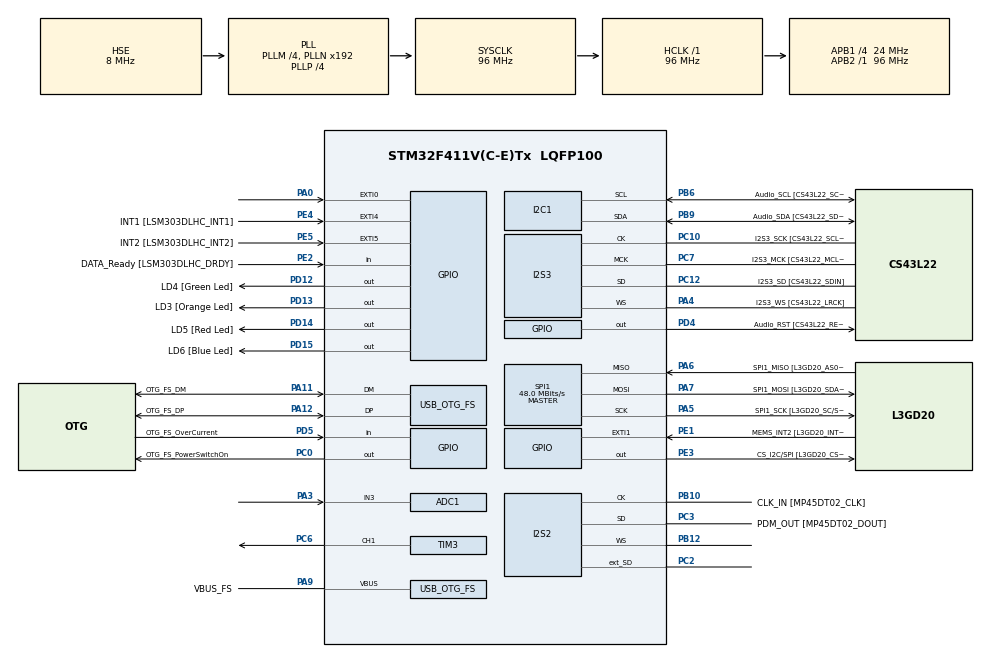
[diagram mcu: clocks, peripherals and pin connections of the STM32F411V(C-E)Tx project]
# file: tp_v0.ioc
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ADC1.Channel-0\#ChannelRegularConversion=ADC_CHANNEL_3
ADC1.NbrOfConversionFlag=1
ADC1.Rank-0\#ChannelRegularConversion=1
ADC1.SamplingTime-0\#ChannelRegularConversion=ADC_SAMPLETIME_3CYCLES
ADC1.master=1
FREERTOS.Tasks01=defaultTask,0,128,StartDefaultTask,Default,NULL
I2S2.AudioFreq=I2S_AUDIOFREQ_96K
I2S2.ErrorAudioFreq=0.15 %
I2S2.FullDuplexMode=I2S_FULLDUPLEXMODE_ENABLE
I2S2.Instance=SPI$Index
I2S2.RealAudioFreq=96.153 KHz
I2S2.VirtualMode=I2S_MODE_MASTER
I2S3.AudioFreq=I2S_AUDIOFREQ_96K
I2S3.ErrorAudioFreq=-6.99 %
I2S3.FullDuplexMode=I2S_FULLDUPLEXMODE_DISABLE
I2S3.Instance=SPI$Index
I2S3.RealAudioFreq=89.285 KHz
I2S3.VirtualMode=I2S_MODE_MASTER
Mcu.Family=STM32F4
Mcu.Name=STM32F411V(C-E)Tx
Mcu.Package=LQFP100
NVIC.OTG_FS_IRQn=true\:5\:0\:false\:false\:true\:true\:true
NVIC.PriorityGroup=NVIC_PRIORITYGROUP_4
NVIC.TIM1_UP_TIM10_IRQn=true\:0\:0\:false\:false\:true\:false\:false
NVIC.TimeBase=TIM1_UP_TIM10_IRQn
NVIC.TimeBaseIP=TIM10
PA0-WKUP.GPIO_ModeDefaultEXTI=GPIO_MODE_EVT_RISING
PA0-WKUP.Signal=GPXTI0
PA10.GPIO_Label=OTG_FS_ID
PA10.Signal=USB_OTG_FS_ID
PA11.GPIO_Label=OTG_FS_DM
PA11.Mode=Device_Only
PA11.Signal=USB_OTG_FS_DM
PA12.GPIO_Label=OTG_FS_DP
PA12.Mode=Device_Only
PA12.Signal=USB_OTG_FS_DP
PA13.GPIO_Label=SWDIO
PA13.Mode=Serial_Wire
PA13.Signal=SYS_JTMS-SWDIO
PA14.GPIO_Label=SWCLK
PA14.Mode=Serial_Wire
PA14.Signal=SYS_JTCK-SWCLK
PA3.Signal=ADCx_IN3
PA4.GPIO_Label=I2S3_WS [CS43L22_LRCK]
PA4.GPIO_Mode=GPIO_MODE_AF_PP
PA4.GPIO_PuPd=GPIO_NOPULL
PA4.GPIO_Speed=GPIO_SPEED_FREQ_LOW
PA4.Mode=Half_Duplex_Master
PA4.Signal=I2S3_WS
PA5.GPIO_Label=SPI1_SCK [L3GD20_SC/SPC]
PA5.Mode=Full_Duplex_Master
PA5.Signal=SPI1_SCK
PA6.GPIO_Label=SPI1_MISO [L3GD20_AS0/SDO]
PA6.Mode=Full_Duplex_Master
PA6.Signal=SPI1_MISO
PA7.GPIO_Label=SPI1_MOSI [L3GD20_SDA/SDI/SDO]
PA7.Mode=Full_Duplex_Master
PA7.Signal=SPI1_MOSI
PA9.GPIO_Label=VBUS_FS
PA9.Mode=Activate_VBUS
PA9.Signal=USB_OTG_FS_VBUS
PB10.GPIO_Label=CLK_IN [MP45DT02_CLK]
PB10.Mode=Full_Duplex_Master
PB10.Signal=I2S2_CK
PB12.Mode=Full_Duplex_Master
PB12.Signal=I2S2_WS
PB3.GPIO_Label=SWO
PB3.Signal=SYS_JTDO-SWO
PB6.GPIO_Label=Audio_SCL [CS43L22_SCL]
PB6.GPIO_Mode=GPIO_MODE_AF_OD
PB6.GPIO_PuPd=GPIO_NOPULL
PB6.GPIO_Speed=GPIO_SPEED_FREQ_LOW
PB6.Mode=I2C
PB6.Signal=I2C1_SCL
PB9.GPIO_Label=Audio_SDA [CS43L22_SDA]
PB9.GPIO_Mode=GPIO_MODE_AF_OD
PB9.GPIO_PuPd=GPIO_NOPULL
PB9.GPIO_Speed=GPIO_SPEED_FREQ_LOW
PB9.Mode=I2C
PB9.Signal=I2C1_SDA
PC0.GPIO_Label=OTG_FS_PowerSwitchOn
PC0.PinState=GPIO_PIN_SET
PC0.Signal=GPIO_Output
PC10.GPIO_Label=I2S3_SCK [CS43L22_SCLK]
PC10.GPIO_Mode=GPIO_MODE_AF_PP
PC10.GPIO_PuPd=GPIO_NOPULL
PC10.GPIO_Speed=GPIO_SPEED_FREQ_LOW
PC10.Mode=Half_Duplex_Master
PC10.Signal=I2S3_CK
PC12.GPIO_Label=I2S3_SD [CS43L22_SDIN]
PC12.GPIO_Mode=GPIO_MODE_AF_PP
PC12.GPIO_PuPd=GPIO_NOPULL
PC12.GPIO_Speed=GPIO_SPEED_FREQ_LOW
PC12.Mode=Half_Duplex_Master
PC12.Signal=I2S3_SD
PC14-OSC32_IN.GPIO_Label=PC14-OSC32_IN
PC14-OSC32_IN.Mode=LSE-External-Oscillator
PC14-OSC32_IN.Signal=RCC_OSC32_IN
PC15-OSC32_OUT.GPIO_Label=PC15-OSC32_OUT
PC15-OSC32_OUT.Mode=LSE-External-Oscillator
PC15-OSC32_OUT.Signal=RCC_OSC32_OUT
PC2.Mode=Full_Duplex_Master
PC2.Signal=I2S2_ext_SD
PC3.GPIO_Label=PDM_OUT [MP45DT02_DOUT]
PC3.Mode=Full_Duplex_Master
PC3.Signal=I2S2_SD
PC6.Signal=S_TIM3_CH1
PC7.GPIO_Label=I2S3_MCK [CS43L22_MCLK]
PC7.GPIO_Mode=GPIO_MODE_AF_PP
PC7.GPIO_PuPd=GPIO_NOPULL
PC7.GPIO_Speed=GPIO_SPEED_FREQ_LOW
PC7.Mode=Master_Clock_Activated
PC7.Signal=I2S3_MCK
PD12.GPIO_Label=LD4 [Green Led]
PD12.GPIO_PuPd=GPIO_NOPULL
PD12.GPIO_Speed=GPIO_SPEED_FREQ_LOW
PD12.Signal=GPIO_Output
PD13.GPIO_Label=LD3 [Orange Led]
PD13.GPIO_PuPd=GPIO_NOPULL
PD13.GPIO_Speed=GPIO_SPEED_FREQ_LOW
PD13.Signal=GPIO_Output
PD14.GPIO_Label=LD5 [Red Led]
PD14.GPIO_PuPd=GPIO_NOPULL
PD14.GPIO_Speed=GPIO_SPEED_FREQ_LOW
PD14.Signal=GPIO_Output
PD15.GPIO_Label=LD6 [Blue Led]
PD15.GPIO_PuPd=GPIO_NOPULL
PD15.GPIO_Speed=GPIO_SPEED_FREQ_LOW
PD15.Signal=GPIO_Output
PD4.GPIO_Label=Audio_RST [CS43L22_RESET]
PD4.Signal=GPIO_Output
PD5.GPIO_Label=OTG_FS_OverCurrent
PD5.Signal=GPIO_Input
PE1.GPIO_Label=MEMS_INT2 [L3GD20_INT2]
PE1.GPIO_ModeDefaultEXTI=GPIO_MODE_EVT_RISING
PE1.Signal=GPXTI1
PE2.GPIO_Label=DATA_Ready [LSM303DLHC_DRDY]
PE2.Signal=GPIO_Input
PE3.GPIO_Label=CS_I2C/SPI [L3GD20_CS_I2C/SPI]
PE3.Signal=GPIO_Output
PE4.GPIO_Label=INT1 [LSM303DLHC_INT1]
PE4.GPIO_ModeDefaultEXTI=GPIO_MODE_EVT_RISING
PE4.Signal=GPXTI4
PE5.GPIO_Label=INT2 [LSM303DLHC_INT2]
PE5.GPIO_ModeDefaultEXTI=GPIO_MODE_EVT_RISING
PE5.Signal=GPXTI5
PH0\ -\ OSC_IN.GPIO_Label=PH0-OSC_IN
PH0\ -\ OSC_IN.Mode=HSE-External-Oscillator
PH0\ -\ OSC_IN.Signal=RCC_OSC_IN
PH1\ -\ OSC_OUT.GPIO_Label=PH1-OSC_OUT
PH1\ -\ OSC_OUT.Mode=HSE-External-Oscillator
PH1\ -\ OSC_OUT.Signal=RCC_OSC_OUT
ProjectManager.HeapSize=0x200
ProjectManager.StackSize=0x400
ProjectManager.TargetToolchain=TrueSTUDIO
RCC.48MHZClocksFreq_Value=48000000
RCC.AHBFreq_Value=96000000
RCC.APB1CLKDivider=RCC_HCLK_DIV4
RCC.APB1Freq_Value=24000000
RCC.APB1TimFreq_Value=48000000
RCC.APB2Freq_Value=96000000
RCC.APB2TimFreq_Value=96000000
RCC.CortexFreq_Value=96000000
RCC.HCLKFreq_Value=96000000
RCC.HSE_VALUE=8000000
RCC.HSI_VALUE=16000000
RCC.PLLI2SM=5
RCC.PLLI2SN=200
RCC.PLLM=4
RCC.PLLP=RCC_PLLP_DIV4
RCC.PLLQ=8
RCC.SYSCLKFreq_VALUE=96000000
RCC.SYSCLKSource=RCC_SYSCLKSOURCE_PLLCLK
RCC.VCOOutputFreq_Value=384000000
SH.ADCx_IN3.0=ADC1_IN3,IN3
SH.S_TIM3_CH1.0=TIM3_CH1,PWM Generation1 CH1
SPI1.BaudRatePrescaler=SPI_BAUDRATEPRESCALER_2
SPI1.CalculateBaudRate=48.0 MBits/s
SPI1.Direction=SPI_DIRECTION_2LINES
SPI1.Mode=SPI_MODE_MASTER
SPI1.VirtualType=VM_MASTER
TIM3.Channel-PWM\ Generation1\ CH1=TIM_CHANNEL_1
USB_DEVICE.CLASS_NAME_FS=CDC
USB_DEVICE.VirtualMode=Cdc
USB_DEVICE.VirtualModeFS=Cdc_FS
USB_OTG_FS.VirtualMode=Device_Only
VP_FREERTOS_VS_ENABLE.Mode=Enabled
VP_SYS_VS_tim10.Mode=TIM10
VP_USB_DEVICE_VS_USB_DEVICE_CDC_FS.Mode=CDC_FS
board=32F411EDISCOVERY

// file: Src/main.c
/**
  ******************************************************************************
  * @file           : main.c
  * @brief          : Main program body
  ******************************************************************************
  * This notice applies to any and all portions of this file
  * that are not between comment pairs USER CODE BEGIN and
  * USER CODE END. Other portions of this file, whether
  * inserted by the user or by software development tools
  * are owned by their respective copyright owners.
  *
  * Copyright (c) 2019 STMicroelectronics International N.V.
  * All rights reserved.
  *
  * Redistribution and use in source and binary forms, with or without
  * modification, are permitted, provided that the following conditions are met:
  *
  * 1. Redistribution of source code must retain the above copyright notice,
  *    this list of conditions and the following disclaimer.
  * 2. Redistributions in binary form must reproduce the above copyright notice,
  *    this list of conditions and the following disclaimer in the documentation
  *    and/or other materials provided with the distribution.
  * 3. Neither the name of STMicroelectronics nor the names of other
  *    contributors to this software may be used to endorse or promote products
  *    derived from this software without specific written permission.
  * 4. This software, including modifications and/or derivative works of this
  *    software, must execute solely and exclusively on microcontroller or
  *    microprocessor devices manufactured by or for STMicroelectronics.
  * 5. Redistribution and use of this software other than as permitted under
  *    this license is void and will automatically terminate your rights under
  *    this license.
  *
  * THIS SOFTWARE IS PROVIDED BY STMICROELECTRONICS AND CONTRIBUTORS "AS IS"
  * AND ANY EXPRESS, IMPLIED OR STATUTORY WARRANTIES, INCLUDING, BUT NOT
  * LIMITED TO, THE IMPLIED WARRANTIES OF MERCHANTABILITY, FITNESS FOR A
  * PARTICULAR PURPOSE AND NON-INFRINGEMENT OF THIRD PARTY INTELLECTUAL PROPERTY
  * RIGHTS ARE DISCLAIMED TO THE FULLEST EXTENT PERMITTED BY LAW. IN NO EVENT
  * SHALL STMICROELECTRONICS OR CONTRIBUTORS BE LIABLE FOR ANY DIRECT, INDIRECT,
  * INCIDENTAL, SPECIAL, EXEMPLARY, OR CONSEQUENTIAL DAMAGES (INCLUDING, BUT NOT
  * LIMITED TO, PROCUREMENT OF SUBSTITUTE GOODS OR SERVICES; LOSS OF USE, DATA,
  * OR PROFITS; OR BUSINESS INTERRUPTION) HOWEVER CAUSED AND ON ANY THEORY OF
  * LIABILITY, WHETHER IN CONTRACT, STRICT LIABILITY, OR TORT (INCLUDING
  * NEGLIGENCE OR OTHERWISE) ARISING IN ANY WAY OUT OF THE USE OF THIS SOFTWARE,
  * EVEN IF ADVISED OF THE POSSIBILITY OF SUCH DAMAGE.
  *
  ******************************************************************************
  */
#include "main.h"
#include "stm32f4xx_hal.h"
#include "cmsis_os.h"
#include "adc.h"
#include "i2c.h"
#include "i2s.h"
#include "spi.h"
#include "tim.h"
#include "usb_device.h"
#include "gpio.h"

/* USER CODE BEGIN PV */
/* Private variables ---------------------------------------------------------*/

/* USER CODE END PV */

void SystemClock_Config(void);
void MX_FREERTOS_Init(void);

/* USER CODE BEGIN PFP */
/* Private function prototypes -----------------------------------------------*/

/* USER CODE END PFP */

int main(void)
{

  /* MCU Configuration----------------------------------------------------------*/

  /* Reset of all peripherals, Initializes the Flash interface and the Systick. */
  HAL_Init();

  /* Configure the system clock */
  SystemClock_Config();

  /* Initialize all configured peripherals */
  MX_GPIO_Init();
  MX_I2C1_Init();
  MX_I2S2_Init();
  MX_I2S3_Init();
  MX_SPI1_Init();
  MX_ADC1_Init();
  MX_TIM3_Init();

  /* Call init function for freertos objects (in freertos.c) */
  MX_FREERTOS_Init();

  /* Start scheduler */
  osKernelStart();

  /* We should never get here as control is now taken by the scheduler */

  /* Infinite loop */
  while (1)
  {

  }

}

void SystemClock_Config(void)
{

  RCC_OscInitTypeDef RCC_OscInitStruct;
  RCC_ClkInitTypeDef RCC_ClkInitStruct;
  RCC_PeriphCLKInitTypeDef PeriphClkInitStruct;

    /**Configure the main internal regulator output voltage
    */
  __HAL_RCC_PWR_CLK_ENABLE();

  __HAL_PWR_VOLTAGESCALING_CONFIG(PWR_REGULATOR_VOLTAGE_SCALE1);

    /**Initializes the CPU, AHB and APB busses clocks
    */
  RCC_OscInitStruct.OscillatorType = RCC_OSCILLATORTYPE_HSE;
  RCC_OscInitStruct.HSEState = RCC_HSE_ON;
  RCC_OscInitStruct.PLL.PLLState = RCC_PLL_ON;
  RCC_OscInitStruct.PLL.PLLSource = RCC_PLLSOURCE_HSE;
  RCC_OscInitStruct.PLL.PLLM = 4;
  RCC_OscInitStruct.PLL.PLLN = 192;
  RCC_OscInitStruct.PLL.PLLP = RCC_PLLP_DIV4;
  RCC_OscInitStruct.PLL.PLLQ = 8;
  if (HAL_RCC_OscConfig(&RCC_OscInitStruct) != HAL_OK)
  {
    _Error_Handler(__FILE__, __LINE__);
  }

    /**Initializes the CPU, AHB and APB busses clocks
    */
  RCC_ClkInitStruct.ClockType = RCC_CLOCKTYPE_HCLK|RCC_CLOCKTYPE_SYSCLK
                              |RCC_CLOCKTYPE_PCLK1|RCC_CLOCKTYPE_PCLK2;
  RCC_ClkInitStruct.SYSCLKSource = RCC_SYSCLKSOURCE_PLLCLK;
  RCC_ClkInitStruct.AHBCLKDivider = RCC_SYSCLK_DIV1;
  RCC_ClkInitStruct.APB1CLKDivider = RCC_HCLK_DIV4;
  RCC_ClkInitStruct.APB2CLKDivider = RCC_HCLK_DIV1;

  if (HAL_RCC_ClockConfig(&RCC_ClkInitStruct, FLASH_LATENCY_3) != HAL_OK)
  {
    _Error_Handler(__FILE__, __LINE__);
  }

  PeriphClkInitStruct.PeriphClockSelection = RCC_PERIPHCLK_I2S;
  PeriphClkInitStruct.PLLI2S.PLLI2SN = 200;
  PeriphClkInitStruct.PLLI2S.PLLI2SM = 5;
  PeriphClkInitStruct.PLLI2S.PLLI2SR = 2;
  if (HAL_RCCEx_PeriphCLKConfig(&PeriphClkInitStruct) != HAL_OK)
  {
    _Error_Handler(__FILE__, __LINE__);
  }

    /**Configure the Systick interrupt time
    */
  HAL_SYSTICK_Config(HAL_RCC_GetHCLKFreq()/1000);

    /**Configure the Systick
    */
  HAL_SYSTICK_CLKSourceConfig(SYSTICK_CLKSOURCE_HCLK);

  /* SysTick_IRQn interrupt configuration */
  HAL_NVIC_SetPriority(SysTick_IRQn, 15, 0);
}

void HAL_TIM_PeriodElapsedCallback(TIM_HandleTypeDef *htim)
{
  if (htim->Instance == TIM10) {
    HAL_IncTick();
  }
}

void _Error_Handler(char *file, int line)
{
  while(1)
  {
  }
}

/************************ (C) COPYRIGHT STMicroelectronics *****END OF FILE****/

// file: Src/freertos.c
/* USER CODE BEGIN Header */
/**
  ******************************************************************************
  * File Name          : freertos.c
  * Description        : Code for freertos applications
  ******************************************************************************
  * This notice applies to any and all portions of this file
  * that are not between comment pairs USER CODE BEGIN and
  * USER CODE END. Other portions of this file, whether
  * inserted by the user or by software development tools
  * are owned by their respective copyright owners.
  *
  * Copyright (c) 2019 STMicroelectronics International N.V.
  * All rights reserved.
  *
  * Redistribution and use in source and binary forms, with or without
  * modification, are permitted, provided that the following conditions are met:
  *
  * 1. Redistribution of source code must retain the above copyright notice,
  *    this list of conditions and the following disclaimer.
  * 2. Redistributions in binary form must reproduce the above copyright notice,
  *    this list of conditions and the following disclaimer in the documentation
  *    and/or other materials provided with the distribution.
  * 3. Neither the name of STMicroelectronics nor the names of other
  *    contributors to this software may be used to endorse or promote products
  *    derived from this software without specific written permission.
  * 4. This software, including modifications and/or derivative works of this
  *    software, must execute solely and exclusively on microcontroller or
  *    microprocessor devices manufactured by or for STMicroelectronics.
  * 5. Redistribution and use of this software other than as permitted under
  *    this license is void and will automatically terminate your rights under
  *    this license.
  *
  * THIS SOFTWARE IS PROVIDED BY STMICROELECTRONICS AND CONTRIBUTORS "AS IS"
  * AND ANY EXPRESS, IMPLIED OR STATUTORY WARRANTIES, INCLUDING, BUT NOT
  * LIMITED TO, THE IMPLIED WARRANTIES OF MERCHANTABILITY, FITNESS FOR A
  * PARTICULAR PURPOSE AND NON-INFRINGEMENT OF THIRD PARTY INTELLECTUAL PROPERTY
  * RIGHTS ARE DISCLAIMED TO THE FULLEST EXTENT PERMITTED BY LAW. IN NO EVENT
  * SHALL STMICROELECTRONICS OR CONTRIBUTORS BE LIABLE FOR ANY DIRECT, INDIRECT,
  * INCIDENTAL, SPECIAL, EXEMPLARY, OR CONSEQUENTIAL DAMAGES (INCLUDING, BUT NOT
  * LIMITED TO, PROCUREMENT OF SUBSTITUTE GOODS OR SERVICES; LOSS OF USE, DATA,
  * OR PROFITS; OR BUSINESS INTERRUPTION) HOWEVER CAUSED AND ON ANY THEORY OF
  * LIABILITY, WHETHER IN CONTRACT, STRICT LIABILITY, OR TORT (INCLUDING
  * NEGLIGENCE OR OTHERWISE) ARISING IN ANY WAY OUT OF THE USE OF THIS SOFTWARE,
  * EVEN IF ADVISED OF THE POSSIBILITY OF SUCH DAMAGE.
  *
  ******************************************************************************
  */
/* USER CODE END Header */

#include "FreeRTOS.h"
#include "task.h"
#include "main.h"
#include "cmsis_os.h"
#include "adc.h"
#include "tim.h"
#include "usb_device.h"

#include "stdio.h"
#include "stdarg.h"
#include "stdbool.h"
#include "usbd_cdc_if.h"
/* USER CODE BEGIN Includes */
#include "../../BSP/STM32F411E-Discovery/stm32f411e_discovery_accelerometer.h"  //faz include das lib do acelerometro
#include <PID_v1.h>

#include <math.h>

/* USER CODE END Includes */

/* USER CODE BEGIN PTD */

int16_t adc_value;
int8_t proporcional=0;
int8_t integral= 0;
int8_t derivativo=0;
int8_t kp,ki,kd;
int8_t last_erro=0;

double Setpoint, Input, Output;
PidType* myPID;
FloatType myPIDInput; // * Pointers to the Input, Output, and Setpoint variables
FloatType myPIDOutput; //   This creates a hard link between the variables and the
FloatType myPIDSetpoint; //   PID, freeing the user from having to constantly tell us
FloatType Kp=5, Ki=2, Kd=3;

int16_t samplesACC_X[10];
int16_t samplesACC_Y[10];
int16_t samplesACC_Z[10];

int32_t sumX=0;
int32_t sumY=0;
int32_t sumZ=0;

uint16_t ValueACC[3]={0,0,0};
int8_t ValueLM35=0;
int8_t setpoint=0;

bool getValueADC=false;

enum
  {
  	PERIPHERAL_USART,	// UART serial device
  	PERIPHERAL_USB 		// USB serial device
  };

void peripheralPrintf(uint16_t peripheral, char *format, ...)
 {
 	char buffer[64];

 	va_list args;
 	va_start(args, format);
 	vsprintf(buffer, format, args);
 	va_end(args);

 	switch(peripheral)
 	{
 	case PERIPHERAL_USART:
 		// TODO:
 		break;
 	case PERIPHERAL_USB:
 		USB_TransmitBuffer((uint8_t *)buffer, strlen(buffer));
 		break;
 	default:
 		break;
 	}
 }

void PID(int8_t PIDinput, int8_t PIDsetpoint);
void STD();
/* USER CODE END PTD */

/* USER CODE BEGIN Variables */

osThreadId AccReadHandle;
osThreadId TempReadHandle;
osThreadId ReceiveCOMHandle;
osThreadId testeHandle;
osThreadId CalculateSTD;

osMessageQId myQueue01Handle;
osMessageQId myQueue02Handle;

/* USER CODE END Variables */
osThreadId defaultTaskHandle;

/* USER CODE BEGIN FunctionPrototypes */
void StartAccRead(void const * argument);
void StartTempRead(void const * argument);
void StartPID(void const * argument);
void SetPoint(void const * argument);
void CalcSTD(void const * argument);
/* USER CODE END FunctionPrototypes */

void StartDefaultTask(void const * argument);

extern void MX_USB_DEVICE_Init(void);
void MX_FREERTOS_Init(void); /* (MISRA C 2004 rule 8.1) */

void MX_FREERTOS_Init(void) {

  /* Create the thread(s) */
  /* definition and creation of defaultTask */
  osThreadDef(defaultTask, StartDefaultTask, osPriorityNormal, 0, 128);
  defaultTaskHandle = osThreadCreate(osThread(defaultTask), NULL);

  /* USER CODE BEGIN RTOS_THREADS */
  /* definition and creation of accRead */
  osThreadDef(AccRead, StartAccRead,  osPriorityAboveNormal, 0, 128);
  AccReadHandle = osThreadCreate(osThread(AccRead), NULL);

  osThreadDef(TempRead, StartTempRead,  osPriorityAboveNormal, 0, 128);
  TempReadHandle = osThreadCreate(osThread(TempRead), NULL);

  osThreadDef(ReceiveCOM, StartPID, osPriorityNormal, 0, 128);
  ReceiveCOMHandle = osThreadCreate(osThread(ReceiveCOM), NULL);

  osThreadDef(StdOK, CalcSTD, osPriorityAboveNormal, 0, 128);  //
  CalculateSTD = osThreadCreate(osThread(StdOK), NULL);

  osThreadDef(SetpointOK, SetPoint, osPriorityHigh, 0, 128);  //
  testeHandle = osThreadCreate(osThread(SetpointOK), NULL);

  /* add threads, ... */
  /* USER CODE END RTOS_THREADS */
  osMessageQDef(myQueue01, 16, uint16_t);
  myQueue01Handle = osMessageCreate(osMessageQ(myQueue01), NULL);

  osMessageQDef(myQueue02, 16, uint16_t);
  myQueue02Handle = osMessageCreate(osMessageQ(myQueue02), NULL);
  /* USER CODE BEGIN RTOS_QUEUES */

  /* add queues, ... */

  PID_init(myPID,Kp,Ki,Kd, PID_Direction_Direct);
  PID_SetMode(myPID, PID_Mode_Automatic);

  HAL_ADC_Start(&hadc1);    //start ADC

  HAL_TIM_PWM_Start(&htim3, TIM_CHANNEL_1);  //inicia PWM
  HAL_TIM_PWM_Start(&htim3, TIM_CHANNEL_2);  //inicia PWM

  /* USER CODE END RTOS_QUEUES */
}

osEvent evt;
osEvent evt2;
void StartDefaultTask(void const * argument)
{
  /* init code for USB_DEVICE */
	MX_USB_DEVICE_Init();

  /* USER CODE BEGIN StartDefaultTask */
  /* Infinite loop */
  for(;;)
  {
	  //LER VARIAVEL EXTERNA RXBUFFER

  }
  /* USER CODE END StartDefaultTask */
}

/* USER CODE BEGIN Application */

/**
  * @brief  Function implementing the PID function
  * @param  argument: Not used
  * @retval None
*/
void StartPID(void const * argument)
{
	for(;;)
	  {
		//peripheralPrintf(PERIPHERAL_USB, " STARTPID");
		  evt= osMessageGet(myQueue01Handle,100);

	    if(evt.status==osEventMessage)
		{
	    	uint16_t val= (uint16_t*)evt.value.p;
			if(val == 1000)
			{
				PID(ValueLM35, setpoint);
				//peripheralPrintf(PERIPHERAL_USB, "startPID");
				//peripheralPrintf(PERIPHERAL_USB, "SETPOINT:\t");
				//peripheralPrintf(PERIPHERAL_USB, "%d",setpoint);
			}
		}
	  }
}

/**
  * @brief  Function implementing the STD CALCULATE
  * @param  argument: Not used
  * @retval None
*/
void CalcSTD(void const * argument)
{
	for(;;)
	  {
		//peripheralPrintf(PERIPHERAL_USB, " STARTPID");
		evt2= osMessageGet(myQueue01Handle,100);

	    if(evt2.status==osEventMessage)
		{
	    	uint16_t val= (uint16_t*)evt2.value.p;
			if(val == 2000)
			{
				STD();
				//peripheralPrintf(PERIPHERAL_USB, " START");
			}
		}
	  }
}

/**
  * @brief  Function implementing the AccRead thread.
  * @param  argument: Not used
  * @retval None
*/
void StartAccRead(void const * argument)
{
	  BSP_ACCELERO_Init();
	  int16_t data[3]={0,0,0};

	  sumX=0;
	  sumY=0;
	  sumZ=0;

	  for(;;)
	  {

		  peripheralPrintf(PERIPHERAL_USB, "entrou na thread");
		  osDelay(300);
		  for(int i=0; i<=9; i++)
		  	{
			  BSP_ACCELERO_GetXYZ(data);
	  		 // adquire 10 amostra do ACC
		  		samplesACC_X[i]=data[0];
		  		samplesACC_Y[i]=data[1];
		  		samplesACC_Z[i]=data[2];

	  		// somatorio das amostras recolhidas
		  		sumX=sumX+ samplesACC_X[i];
		  		sumY=sumY+ samplesACC_Y[i];
		  		sumZ=sumZ+ samplesACC_Z[i];

		  		if(i==9)
		  		{
		  			osDelay(1);
		  			osMessagePut(myQueue01Handle, 2000,100);
		  			//STD();
		  			//peripheralPrintf(PERIPHERAL_USB, "A:\t");
		  		}
		  	}
//
//		peripheralPrintf(PERIPHERAL_USB, "X:\t");
//		peripheralPrintf(PERIPHERAL_USB, "%d",data[0]);
//		peripheralPrintf(PERIPHERAL_USB, " Y:\t");
//		peripheralPrintf(PERIPHERAL_USB, "%d",data[1]);
//		peripheralPrintf(PERIPHERAL_USB, " Z:\t");
//		peripheralPrintf(PERIPHERAL_USB, "%d",data[2]);

	  }
}

/**
  * @brief  Function implementing the TempRead thread.
  * @param  argument: Not used
  * @retval None
*/
void StartTempRead(void const * argument)
{
	for(;;)
	{
	  HAL_ADC_Start(&hadc1);
	  if((HAL_ADC_PollForConversion(&hadc1, 100) == HAL_OK) || getValueADC==true)    // get value of temperature if ADC it's work
	  {
		  getValueADC=true;
		  ValueLM35=HAL_ADC_GetValue(&hadc1);  // read value of temp

		  int8_t ValueLM35_Conv=ValueLM35*0.5;
		  ValueLM35= ValueLM35_Conv;

		  HAL_ADC_Stop(&hadc1);  // stop read
		  peripheralPrintf(PERIPHERAL_USB, "T:\t");
		  peripheralPrintf(PERIPHERAL_USB, "%d",ValueLM35_Conv);
		  peripheralPrintf(PERIPHERAL_USB, "\n");
		  osDelay(300);
	  }
	  else  													// if ADC it's not working
	  {
		  ValueLM35=0;
	  }
	  HAL_Delay(100);
	}
}

/**
  * @brief  Function implementing ----------------
  * @param  argument: Not used
  * @retval None
*/
void SetPoint(void const * argument)
{
	for(;;)
	{
		 setpoint=(int8_t)atoi((char*)received_data);
		 //setpoint=20;
		 osDelay(1);

		  if(setpoint!=0)
		  {
			  //peripheralPrintf(PERIPHERAL_USB, "calcular");
			  osDelay(1);
			  osMessagePut(myQueue01Handle, 1000,100);
		  }

	}
}

/**
  * @brief  Function implementing the PID.
  * @param  argument: PID input and setpoint
  * @retval None
*/
void PID(int8_t PIDinput, int8_t PIDsetpoint)
{
		kp=2;
		ki=5;
		kd=2;
		int8_t erro= (PIDsetpoint- PIDinput);
		//uint8_t erro_d= (PIDinput- PIDsetpoint);

		proporcional=kp*erro;
		integral= (integral+erro)*ki;
		derivativo=(erro-last_erro)*kd;

		int8_t pwm= proporcional+ integral+ derivativo;

		last_erro=erro;

		if(PIDinput>PIDsetpoint)    // ativa ventoinha
		{
			HAL_GPIO_WritePin(LD3_GPIO_Port, LD3_Pin,1);
			HAL_GPIO_WritePin(LD3_GPIO_Port, LD4_Pin,0);

			//PID_Compute(myPID);
			//HAL_GPIO_WritePin(GPIOA,5,myPID->myOutput);
			__HAL_TIM_SET_COMPARE(&htim3,TIM_CHANNEL_1,pwm);
		}
		else if(PIDinput<PIDsetpoint)   // ativa aquecimento
		{
			HAL_GPIO_WritePin(LD3_GPIO_Port, LD3_Pin,0);
			HAL_GPIO_WritePin(LD3_GPIO_Port, LD4_Pin,1);
			__HAL_TIM_SET_COMPARE(&htim3,TIM_CHANNEL_2,pwm);
		}
		else
		{
			HAL_GPIO_WritePin(LD3_GPIO_Port, LD3_Pin,0);
			HAL_GPIO_WritePin(LD3_GPIO_Port, LD4_Pin,0);
			integral=0;
			pwm=0;
		}
}

/**
  * @brief  Function implementing calculate STD.
  * @param  argument: none
  * @retval None
*/
void STD()
{

	int32_t avgX=0;
	int32_t avgY=0;
	int32_t avgZ=0;

	int32_t auxX=0;
	int32_t auxY=0;
	int32_t auxZ=0;

	int16_t stdX=0;
	int16_t stdY=0;
	int16_t stdZ=0;

// calcula média para cada eixo
	avgX=sumX/10;
	avgY=sumY/10;
	avgZ=sumZ/10;

	for(int i=0; i<=9; i++)
	{
		//inicia calculo do desvio padrão
		auxX += (samplesACC_X[i]-avgX)*(samplesACC_X[i]-avgX);
		auxY += (samplesACC_Y[i]-avgY)*(samplesACC_Y[i]-avgY);
		auxZ += (samplesACC_Z[i]-avgZ)*(samplesACC_Z[i]-avgZ);

		if(i==9)
		{
			//peripheralPrintf(PERIPHERAL_USB, "x:\t");
			stdX=sqrt(auxX/9);
			peripheralPrintf(PERIPHERAL_USB, "X:\t");
			peripheralPrintf(PERIPHERAL_USB, "%d",stdX);

			stdY=sqrt(auxY/9);
			peripheralPrintf(PERIPHERAL_USB, " Y:\t");
			peripheralPrintf(PERIPHERAL_USB, "%d",stdY);

			stdZ=sqrt(auxZ/9);
			peripheralPrintf(PERIPHERAL_USB, " Z:\t");
			peripheralPrintf(PERIPHERAL_USB, "%d",stdZ);

//			if(stdX!=0)
//			{
//
//				if(stdY!=0)
//				{
//					peripheralPrintf(PERIPHERAL_USB, " Y:\t");
//					peripheralPrintf(PERIPHERAL_USB, "%d",stdY);
//
//					if(stdZ!=0)
//					{
//						peripheralPrintf(PERIPHERAL_USB, " Z:\t");
//						peripheralPrintf(PERIPHERAL_USB, "%d",stdZ);
//					}
//					else
//						peripheralPrintf(PERIPHERAL_USB, " Z:0\t");
//				}
//				else
//					peripheralPrintf(PERIPHERAL_USB, " Y:0\t");
//
//			}
//			else
//				peripheralPrintf(PERIPHERAL_USB, "X:0\t");
		}

	}
}

/* USER CODE END Application */

/************************ (C) COPYRIGHT STMicroelectronics *****END OF FILE****/
